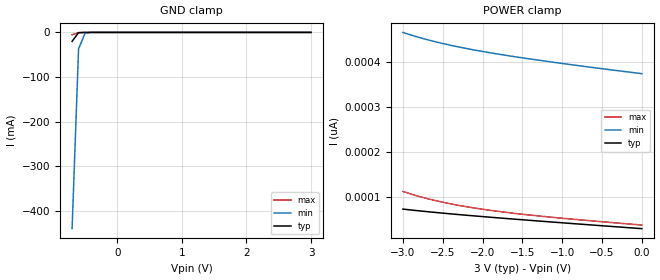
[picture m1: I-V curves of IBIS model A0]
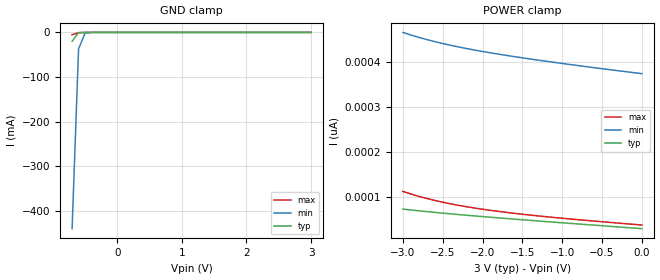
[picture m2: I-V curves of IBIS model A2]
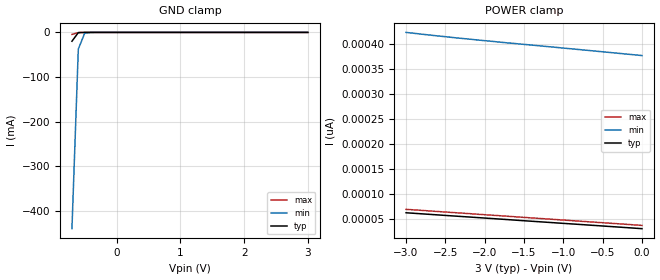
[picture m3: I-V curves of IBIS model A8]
| IBIS file lv640f63.ibs created by s2ibis2 version 1.1
| North Carolina State University Electronics Research Laboratory  1995
[IBIS ver]   2.1
[File name]   lv640f63.ibs
[File Rev]   0.5
[Date]   5/18/99
[Source]   From AMD NVD Sunnyvale
[Notes]   Generated IBIS models from SPICE simulations.
[Disclaimer]   THE MODEL LIBRARIES ARE PROVIDED AS IS.
[Copyright]   (C) COPYRIGHT 1999
|   Component AM29LV640U_FBGA63
[Component]   AM29LV640U_FBGA63
[Manufacturer]   ADVANCED MICRO DEVICES
[Package]
| variable   typ   min   max
R_pkg   51.0000m   51.0000m   51.0000m
L_pkg   4.2350nH   4.2350nH   4.2350nH
C_pkg   0.4620pF   0.4620pF   0.4620pF
[Pin]  signal_name   model_name   R_pin   L_pin   C_pin
A1   NC   NC
A2   NC   NC
A7   NC   NC
A8   NC   NC
B1   NC   NC
B7   NC   NC
B8   NC   NC
C2   A3   A3
C3   A7   A7
C4   RDY   RDY
C5   WE#   WEB
C6   A9   A9
C7   A13   A13
D2   A4   A4
D3   A17   A17
D4   ACC   ACC
D5   RST#   RSTB
D6   A8   A8
D7   A12   A12
E2   A2   A2
E3   A6   A6
E4   A18   A18
E5   A21   A21
E6   A10   A10
E7   A14   A14
F2   A1   A1
F3   A5   A5
F4   A20   A20
F5   A19   A19
F6   A11   A11
F7   A15   A15
G2   A0   A0
G3   DQ0   DQ0
G4   DQ2   DQ0
G5   DQ5   DQ0
G6   DQ7   DQ0
G7   A16   A16
H2   CE#   CEB
H3   DQ8   DQ0
H4   DQ10   DQ0
H5   DQ12   DQ0
H6   DQ14   DQ0
H7   VIOC   POWER
J2   OE#   OEB
J3   DQ9   DQ0
J4   DQ11   DQ0
J5   VCC   POWER
J6   DQ13   DQ0
J7   DQ15   DQ0
K2   VSS   GND
K3   DQ1   DQ0
K4   DQ3   DQ0
K5   DQ4   DQ0
K6   DQ6   DQ0
K7   VSS   GND
L1   NC   NC
L2   NC   NC
L7   NC   NC
L8   NC   NC
M1   NC   NC
M2   NC   NC
M7   NC   NC
M8   NC   NC
| Models and submodels in the file (30): A0 (Input), A1 (Input), A2 (Input), A3 (Input), A4 (Input), A5 (Input), A6 (Input), A7 (Input), A8 (Input), A9 (Input), A10 (Input), A11 (Input), A12 (Input), A13 (Input), A14 (Input), A15 (Input), A16 (Input), A17 (Input), A18 (Input), A19 (Input), A20 (Input), A21 (Input), CEB (Input), OEB (Input), WEB (Input), RSTB (Input), WPB (Input), ACC (Input), DQ0 (I/O), RDY (Open_sink)
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|   Model A0
[Model]   A0
Model_type   Input
Vinl =   0.8000V
Vinh =   2.1000V
C_comp   6.0000pF   6.0000pF   6.0000pF
[Temperature Range]   27.0000   100.0000   0.000
[Pullup Reference]   3.0000V   2.7000V   3.6000V
[Pulldown Reference]   0.000V   0.000V   0.000V
[POWER Clamp Reference]   3.0000V   2.7000V   3.6000V
[GND Clamp Reference]   0.000V   0.000V   0.000V
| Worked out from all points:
|   GND clamp passes 1 mA (typ) near -0.60 V on its own axis
[GND_clamp]
| voltage   I(typ)   I(min)   I(max)
-700mV    -20.06mA   -440.3mA   -5.333mA
-600mV    -617.3uA   -37.29mA   -762.6uA
-500mV    -30.38uA   -1.773mA   -99.93uA
-300mV    -91nA      -3.722uA   -323nA
3V        29.64pA    380.6pA    29.3pA
[POWER_clamp]
| voltage   I(typ)   I(min)   I(max)
-3V       73.09pA    465.7pA    112.4pA
-2.9V     71.15pA    459.9pA    106.6pA
-2.8V     69.28pA    454.6pA    101.4pA
-2.6V     65.8pA     445.2pA    92.34pA
-2.5V     64.12pA    441pA      88.38pA
-2.3V     60.94pA    433.3pA    81.37pA
-2V       56.45pA    423.3pA    72.76pA
-1.6V     50.78pA    411.8pA    63.66pA
-1.2V     45.35pA    401.6pA    56.16pA
-600mV    37.42pA    387.3pA    46.51pA
0V        29.64pA    374pA      37.72pA
|   Model A2
[Model]   A2
Model_type   Input
Vinl =   0.8000V
Vinh =   2.1000V
C_comp   6.0000pF   6.0000pF   6.0000pF
[Temperature Range]   27.0000   100.0000   0.000
[Pullup Reference]   3.0000V   2.7000V   3.6000V
[Pulldown Reference]   0.000V   0.000V   0.000V
[POWER Clamp Reference]   3.0000V   2.7000V   3.6000V
[GND Clamp Reference]   0.000V   0.000V   0.000V
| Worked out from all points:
|   GND clamp passes 1 mA (typ) near -0.60 V on its own axis
[GND_clamp]
| voltage   I(typ)   I(min)   I(max)
-700mV    -20.06mA   -440.3mA   -5.333mA
-600mV    -617.3uA   -37.29mA   -762.6uA
-500mV    -30.38uA   -1.773mA   -99.93uA
-300mV    -91nA      -3.722uA   -323nA
3V        29.63pA    380.6pA    29.32pA
[POWER_clamp]
| voltage   I(typ)   I(min)   I(max)
-3V       73.09pA    465.7pA    112.4pA
-2.8V     69.31pA    454.6pA    101.4pA
-2.7V     67.52pA    449.8pA    96.68pA
-2.5V     64.12pA    441pA      88.36pA
-2.3V     60.94pA    433.3pA    81.39pA
-2V       56.45pA    423.3pA    72.77pA
-1.6V     50.78pA    411.8pA    63.65pA
-1.2V     45.35pA    401.6pA    56.16pA
-600mV    37.42pA    387.3pA    46.51pA
0V        29.63pA    374pA      37.72pA
|   Model A8
[Model]   A8
Model_type   Input
Vinl =   0.8000V
Vinh =   2.1000V
C_comp   6.0000pF   6.0000pF   6.0000pF
[Temperature Range]   27.0000   100.0000   0.000
[Pullup Reference]   3.0000V   2.7000V   3.6000V
[Pulldown Reference]   0.000V   0.000V   0.000V
[POWER Clamp Reference]   3.0000V   2.7000V   3.6000V
[GND Clamp Reference]   0.000V   0.000V   0.000V
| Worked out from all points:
|   GND clamp passes 1 mA (typ) near -0.60 V on its own axis
[GND_clamp]
| voltage   I(typ)   I(min)   I(max)
-700mV    -19.83mA   -440.3mA   -4.479mA
-600mV    -541uA     -37.28mA   -434.5uA
-500mV    -20.66uA   -1.769mA   -46.57uA
-300mV    -51.16nA   -3.681uA   -157.7nA
3V        29.91pA    380.7pA    30.03pA
[POWER_clamp]
| voltage   I(typ)   I(min)   I(max)
-3V       61.69pA    422.5pA    68.52pA
-2.6V     57.45pA    415.5pA    64.26pA
-2V       51.13pA    405.9pA    57.8pA
-1.1V     41.54pA    392.7pA    48.19pA
0V        29.91pA    376.2pA    36.41pA
